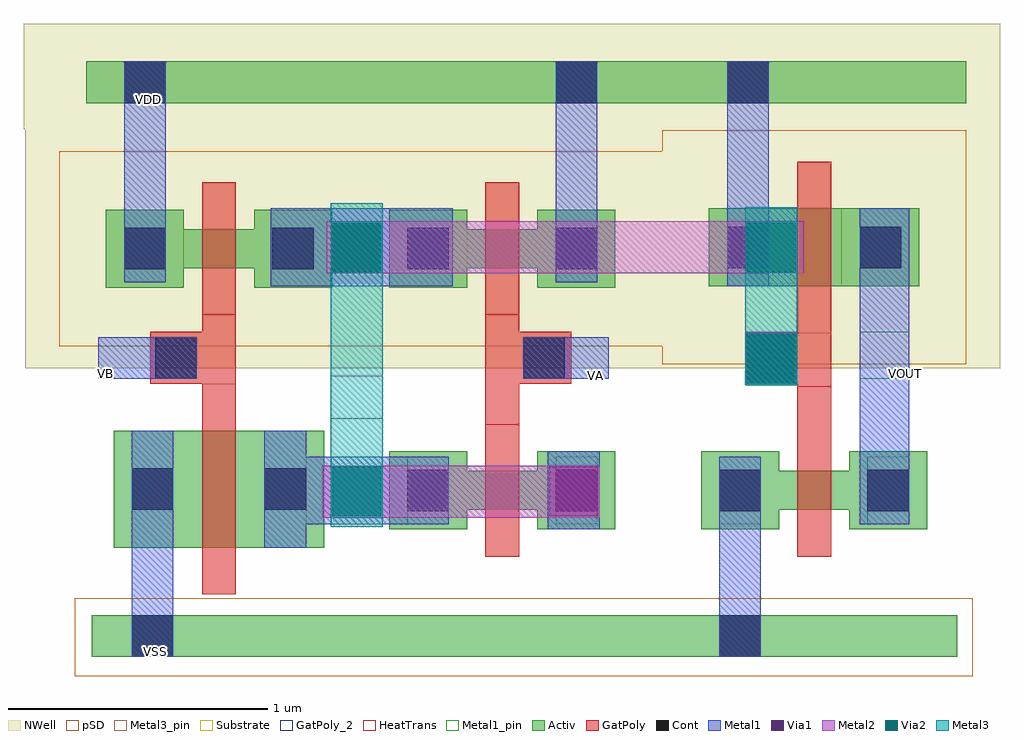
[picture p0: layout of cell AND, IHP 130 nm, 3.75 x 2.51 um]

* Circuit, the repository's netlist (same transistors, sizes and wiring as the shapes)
* Extracted by KLayout with SG13G2 LVS runset on : 26/01/2026 01:04

.SUBCKT AND VB VA VSS VDD VOUT
X$1 VA VB VDD VSS \$7 NAND
X$2 VSS VDD \$7 VOUT INV_D1
.ENDS AND

.SUBCKT INV_D1 \$1 \$2 VIN \$4
M$1 \$2 VIN \$4 \$2 sg13_lv_pmos L=0.13u W=0.3u AS=0.102p AD=0.102p PS=1.28u
+ PD=1.28u
M$2 \$1 VIN \$4 \$1 sg13_lv_nmos L=0.13u W=0.15u AS=0.1005p AD=0.1005p PS=1.34u
+ PD=1.34u
.ENDS INV_D1

.SUBCKT NAND \$1 VB \$3 \$4 \$5
M$1 \$5 \$1 \$7 \$4 sg13_lv_nmos L=0.13u W=0.15u AS=0.1005p AD=0.1005p PS=1.34u
+ PD=1.34u
M$2 \$7 VB \$4 \$4 sg13_lv_nmos L=0.13u W=0.45u AS=0.153p AD=0.153p PS=1.58u
+ PD=1.58u
M$3 \$3 \$1 \$5 \$3 sg13_lv_pmos L=0.13u W=0.15u AS=0.1005p AD=0.1005p PS=1.34u
+ PD=1.34u
M$4 \$5 VB \$3 \$3 sg13_lv_pmos L=0.13u W=0.15u AS=0.1005p AD=0.1005p PS=1.34u
+ PD=1.34u
.ENDS NAND

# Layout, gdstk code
from math import pi, radians
import gdstk
lib = gdstk.Library(unit=1e-6, precision=5e-09)
def R(c, l, rs):  # rectangles x0, y0, x1, y1
    for r in rs: c.add(gdstk.rectangle(r[:2], r[2:], *l))
Activ = (1, 0)
GatPoly = (5, 0)
GatPoly_2 = (5, 2)
Cont = (6, 0)
Metal1 = (8, 0)
Metal1_pin = (8, 2)
Metal2 = (10, 0)
pSD = (14, 0)
Via1 = (19, 0)
Via2 = (29, 0)
Metal3 = (30, 0)
Metal3_pin = (30, 2)
NWell = (31, 0)
Substrate = (40, 0)
HeatTrans = (51, 0)

pmos = lib.new_cell('pmos')
R(pmos, Activ, [(0,0,0.3,0.3), (0.57,0,0.87,0.3), (0,0.075,0.87,0.225)])
R(pmos, GatPoly, [(0.37,-0.105,0.5,0.405), (0.37,-0.105,0.5,0.405)])
R(pmos, Cont, [(0.07,0.07,0.23,0.23), (0.64,0.07,0.8,0.23)])
R(pmos, Metal1, [(0.07,0.02,0.23,0.28), (0.07,0.02,0.23,0.28), (0.64,0.02,0.8,0.28), (0.64,0.02,0.8,0.28)])
R(pmos, pSD, [(-0.18,-0.225,1.05,0.525)])
R(pmos, NWell, [(-0.31,-0.31,1.18,0.61)])
R(pmos, Substrate, [(0.57,0,0.87,0.3)])
R(pmos, HeatTrans, [(0.37,-0.105,0.5,0.405)])
pmos.add(gdstk.Label('pmos', (0.435,0.15), layer=63, texttype=0))
pmos.add(gdstk.Label('pmos', (0.435,0.15), layer=51, texttype=0))

nmos = lib.new_cell('nmos')
R(nmos, Activ, [(0,0,0.3,0.3), (0,0,0.81,0.45), (0.51,0,0.81,0.3)])
R(nmos, GatPoly, [(0.34,-0.18,0.47,0.63)])
R(nmos, GatPoly_2, [(0.34,-0.18,0.47,0.63)])
R(nmos, Cont, [(0.07,0.145,0.23,0.305), (0.58,0.145,0.74,0.305)])
R(nmos, Metal1, [(0.07,0,0.23,0.45), (0.58,0,0.74,0.45)])
R(nmos, Metal1_pin, [(0.07,0,0.23,0.45), (0.58,0,0.74,0.45)])
R(nmos, HeatTrans, [(0.34,-0.18,0.47,0.63)])
nmos.add(gdstk.Label('nmos', (0.405,0.225), layer=63, texttype=0))
nmos.add(gdstk.Label('nmos', (0.405,0.225), layer=51, texttype=0))

nmos_3 = lib.new_cell('nmos$3')
R(nmos_3, Activ, [(0,0,0.3,0.3), (0.57,0,0.87,0.3), (0,0.075,0.87,0.225)])
R(nmos_3, GatPoly, [(0.37,-0.105,0.5,0.405)])
R(nmos_3, GatPoly_2, [(0.37,-0.105,0.5,0.405)])
R(nmos_3, Cont, [(0.07,0.07,0.23,0.23), (0.64,0.07,0.8,0.23)])
R(nmos_3, Metal1, [(0.07,0.02,0.23,0.28), (0.64,0.02,0.8,0.28)])
R(nmos_3, Metal1_pin, [(0.07,0.02,0.23,0.28), (0.64,0.02,0.8,0.28)])
R(nmos_3, HeatTrans, [(0.37,-0.105,0.5,0.405)])
nmos_3.add(gdstk.Label('nmos', (0.435,0.15), layer=63, texttype=0))
nmos_3.add(gdstk.Label('nmos', (0.435,0.15), layer=51, texttype=0))

via1_constraint = lib.new_cell('Via1_constraint')
R(via1_constraint, Metal1, [(0,0,0.2,0.2)])
R(via1_constraint, Metal2, [(0,0,0.2,0.2)])
R(via1_constraint, Via1, [(0.005,0.005,0.195,0.195)])

via2_constraint = lib.new_cell('Via2_constraint')
R(via2_constraint, Metal2, [(-0.005,-0.005,0.195,0.195)])
R(via2_constraint, Via2, [(0,0,0.19,0.19)])
R(via2_constraint, Metal3, [(-0.005,-0.005,0.195,0.195)])

nand = lib.new_cell('NAND')
R(nand, Activ, [(-0.065,-0.175,2.075,-0.015), (-0.085,1.955,2.095,2.115)])
R(nand, GatPoly, [(1.45,0.615,1.58,1.16), (0.16,0.875,0.36,1.075), (0.36,0.875,0.49,1.145), (1.58,0.875,1.78,1.075)])
R(nand, Cont, [(0.09,-0.175,0.25,-0.015), (0.18,0.895,0.34,1.055), (1.595,0.895,1.755,1.055), (0.06,1.955,0.22,2.115), (1.72,1.955,1.88,2.115)])
R(nand, Metal1, [(0.09,-0.175,0.25,0.245), (1.69,0.315,1.89,0.615), (0.76,0.335,1.31,0.595), (0.18,0.895,0.34,1.055), (1.595,0.895,1.755,1.055), (0.625,1.25,1.325,1.55), (0.06,1.525,0.22,2.115), (1.72,1.525,1.88,2.115)])
R(nand, Metal1_pin, [(0.09,-0.175,0.25,-0.015), (0.18,0.895,0.34,1.055), (1.595,0.895,1.755,1.055), (0.06,1.955,0.22,2.115), (1.72,1.955,1.88,2.115)])
R(nand, Metal2, [(0.825,0.36,1.89,0.56)])
R(nand, pSD, [(-0.13,-0.25,2.115,0.05)])
R(nand, Metal3, [(0.855,0.325,1.055,1.57)])
R(nand, Metal3_pin, [(0.855,0.74,1.055,0.905)])
R(nand, NWell, [(-0.325,1.855,2.26,2.26)])
nand.add(gdstk.Reference(pmos, (1.95,1.245), rotation=pi, x_reflection=True))
nand.add(gdstk.Reference(nmos, (0.83,0.245), rotation=pi, x_reflection=True))
nand.add(gdstk.Reference(nmos_3, (1.95,0.315), rotation=pi, x_reflection=True))
nand.add(gdstk.Reference(pmos, (0.86,1.245), rotation=pi, x_reflection=True))
nand.add(gdstk.Reference(via1_constraint, (1.69,0.36)))
nand.add(gdstk.Reference(via2_constraint, (0.86,0.365)))
nand.add(gdstk.Reference(via2_constraint, (0.86,1.305)))
nand.add(gdstk.Reference(via1_constraint, (0.855,1.3)))
nand.add(gdstk.Label('VA', (1.63,1.035), layer=8, texttype=2))
nand.add(gdstk.Label('VSS', (0.16,-0.05), layer=8, texttype=2))
nand.add(gdstk.Label('VDD', (0.085,2.075), layer=8, texttype=2))
nand.add(gdstk.Label('VDD', (1.745,2.075), layer=8, texttype=2))
nand.add(gdstk.Label('VB', (0.215,1.025), layer=8, texttype=2))
nand.add(gdstk.Label('VB', (0.295,1.015), layer=8, texttype=25))
nand.add(gdstk.Label('VOUT', (0.97,0.84), layer=30, texttype=2))

nmos_1 = lib.new_cell('nmos$1')
R(nmos_1, Activ, [(0,-0.145,0.3,0.155), (0.57,-0.145,0.87,0.155), (0,-0.07,0.87,0.08)])
R(nmos_1, GatPoly, [(0.37,-0.25,0.5,0.405)])
R(nmos_1, Cont, [(0.07,-0.075,0.23,0.085), (0.64,-0.075,0.8,0.085)])
R(nmos_1, Metal1, [(0.07,-0.125,0.23,0.135), (0.64,-0.125,0.8,0.135)])
R(nmos_1, Metal1_pin, [(0.07,-0.125,0.23,0.135), (0.64,-0.125,0.8,0.135)])
R(nmos_1, HeatTrans, [(0.37,-0.25,0.5,0.405)])
nmos_1.add(gdstk.Label('nmos', (0.435,0.005), layer=63, texttype=0))
nmos_1.add(gdstk.Label('nmos', (0.435,0.005), layer=51, texttype=0))

pmos_1 = lib.new_cell('pmos$1')
R(pmos_1, Activ, [(0,0,0.3,0.3), (0,0,0.81,0.3), (0.51,0,0.81,0.3)])
R(pmos_1, GatPoly, [(0.34,-0.18,0.47,0.48), (0.34,-0.18,0.47,0.48)])
R(pmos_1, Cont, [(0.07,0.07,0.23,0.23), (0.58,0.07,0.74,0.23)])
R(pmos_1, Metal1, [(0.07,0,0.23,0.3), (0.07,0,0.23,0.3), (0.58,0,0.74,0.3), (0.58,0,0.74,0.3)])
R(pmos_1, pSD, [(-0.18,-0.3,0.99,0.6)])
R(pmos_1, NWell, [(-0.31,-0.315,1.12,0.61)])
R(pmos_1, Substrate, [(0.51,0,0.81,0.3)])
R(pmos_1, HeatTrans, [(0.34,-0.18,0.47,0.48)])
pmos_1.add(gdstk.Label('pmos', (0.405,0.15), layer=63, texttype=0))
pmos_1.add(gdstk.Label('pmos', (0.405,0.15), layer=51, texttype=0))

inv_d1 = lib.new_cell('INV_D1')
R(inv_d1, Activ, [(-0.655,-1.24,0.54,-1.08), (-0.64,0.89,0.575,1.05)])
R(inv_d1, GatPoly, [(-0.075,-0.2,0.055,0.005), (-0.275,-0.19,-0.075,0.01)])
R(inv_d1, Cont, [(-0.375,-1.24,-0.215,-1.08), (-0.255,-0.17,-0.095,-0.01), (-0.345,0.89,-0.185,1.05)])
R(inv_d1, Metal1, [(-0.375,-1.24,-0.215,-0.73), (0.165,-0.73,0.355,0.485), (-0.255,-0.17,-0.095,-0.01), (-0.345,0.485,-0.185,1.05)])
R(inv_d1, Metal1_pin, [(-0.375,-1.24,-0.215,-1.08), (-0.255,-0.17,-0.095,-0.01), (0.165,-0.17,0.355,0.01), (-0.345,0.89,-0.185,1.05)])
R(inv_d1, pSD, [(-0.705,-1.315,0.6,-1.015)])
R(inv_d1, NWell, [(-0.725,0.795,0.705,1.195)])
inv_d1.add(gdstk.Reference(nmos_1, (-0.445,-0.605)))
inv_d1.add(gdstk.Reference(pmos_1, (-0.415,0.185)))
inv_d1.add(gdstk.Label('VDD', (-0.215,1.025), layer=8, texttype=2))
inv_d1.add(gdstk.Label('VSS', (-0.26,-1.105), layer=8, texttype=2))
inv_d1.add(gdstk.Label('VIN', (-0.155,-0.05), layer=8, texttype=2))
inv_d1.add(gdstk.Label('VOUT', (0.315,-0.025), layer=8, texttype=2))
inv_d1.add(gdstk.Label('VIN', (-0.23,-0.145), layer=8, texttype=25))

and_ = lib.new_cell('AND')
R(and_, Metal1, [(0.285,1.145,0.665,1.305), (1.92,1.145,2.25,1.305)])
R(and_, Metal2, [(1.165,1.55,3,1.75)])
R(and_, Metal3, [(2.775,1.125,2.975,1.805)])
and_.add(gdstk.Reference(nand, (0.325,0.25)))
and_.add(gdstk.Reference(inv_d1, (3.05,1.315)))
and_.add(gdstk.Reference(via2_constraint, (2.78,1.555)))
and_.add(gdstk.Reference(via1_constraint, (2.775,1.125)))
and_.add(gdstk.Reference(via2_constraint, (2.78,1.125)))
and_.add(gdstk.Label('VB', (0.315,1.165), layer=8, texttype=25))
and_.add(gdstk.Label('VDD', (0.48,2.22), layer=8, texttype=25))
and_.add(gdstk.Label('VSS', (0.505,0.095), layer=8, texttype=25))
and_.add(gdstk.Label('VA', (2.2,1.155), layer=8, texttype=25))
and_.add(gdstk.Label('VOUT', (3.39,1.165), layer=8, texttype=25))

lib.write_gds('AND.gds')
